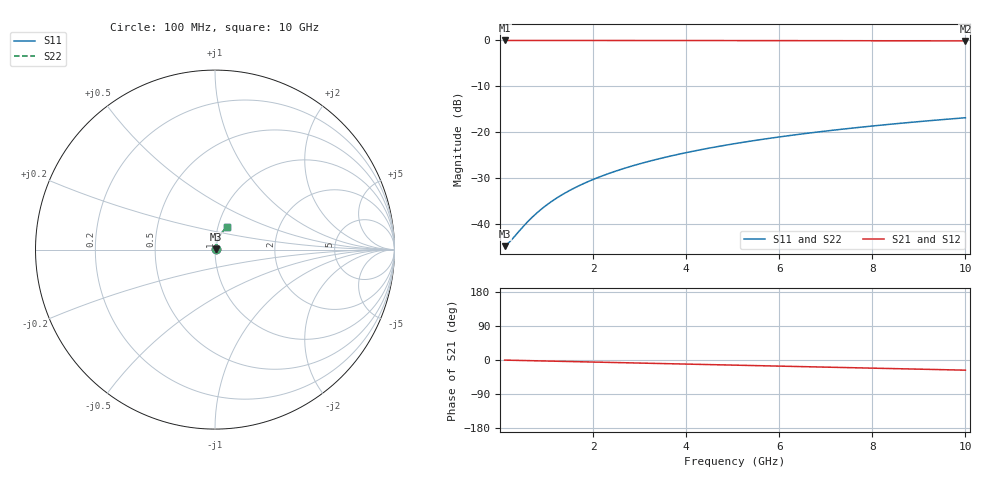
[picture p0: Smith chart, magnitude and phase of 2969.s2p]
# Hz S RI R 50.00
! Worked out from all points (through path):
!   100 points, 100 MHz to 10 GHz, reference 50 ohm
!   highest |S21| = -0.05 dB at 100 MHz (marker M1); lowest = -0.1 dB at 10 GHz (marker M2)
!   group delay of S21, straight-line fit = 7.45 ps
!   lowest |S11| = -44.9 dB at 100 MHz (marker M3), VSWR 1.01, Z = 50.6 + j0.148 ohm
!   |S11| at or under -10 dB: start of sweep to end of sweep
!   |S22| runs from -44.9 to -16.9 dB; largest |S21 - S12| = 0
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1e8  0.00549 0.00146  0.9945 -0.00468  0.9945 -0.00468  0.00549 0.00146
2e8  0.00554 0.00293  0.9944 -0.00935  0.9944 -0.00935  0.00554 0.00293
5e8  0.00575 0.00732  0.9941 -0.0234  0.9941 -0.0234  0.00575 0.00732
6e8  0.00584 0.00878  0.994 -0.0281  0.994 -0.0281  0.00584 0.00878
7e8  0.00594 0.0102  0.9938 -0.0327  0.9938 -0.0327  0.00594 0.0102
9e8  0.00619 0.0132  0.9934 -0.0421  0.9934 -0.0421  0.00619 0.0132
1.1e9  0.00648 0.0161  0.9929 -0.0514  0.9929 -0.0514  0.00648 0.0161
1.3e9  0.00683 0.019  0.9923 -0.0607  0.9923 -0.0607  0.00683 0.019
1.5e9  0.00724 0.0219  0.9916 -0.0701  0.9916 -0.0701  0.00724 0.0219
1.8e9  0.00794 0.0262  0.9903 -0.084  0.9903 -0.084  0.00794 0.0262
2.1e9  0.00876 0.0305  0.9889 -0.098  0.9889 -0.098  0.00876 0.0305
2.5e9  0.01 0.0362  0.9866 -0.1165  0.9866 -0.1165  0.01 0.0362
2.9e9  0.0115 0.0419  0.984 -0.135  0.984 -0.135  0.0115 0.0419
3.4e9  0.0137 0.0488  0.9802 -0.158  0.9802 -0.158  0.0137 0.0488
3.8e9  0.0157 0.0543  0.9767 -0.1763  0.9767 -0.1763  0.0157 0.0543
4.2e9  0.0178 0.0597  0.9729 -0.1946  0.9729 -0.1946  0.0178 0.0597
5.1e9  0.0234 0.0716  0.9629 -0.2352  0.9629 -0.2352  0.0234 0.0716
5.9e9  0.0292 0.0817  0.9525 -0.2709  0.9525 -0.2709  0.0292 0.0817
6.7e9  0.0358 0.0913  0.9407 -0.306  0.9407 -0.306  0.0358 0.0913
7.5e9  0.043 0.1003  0.9275 -0.3405  0.9275 -0.3405  0.043 0.1003
8.4e9  0.0519 0.1098  0.911 -0.3785  0.911 -0.3785  0.0519 0.1098
1e10  0.0695 0.1247  0.8778 -0.4439  0.8778 -0.4439  0.0695 0.1247
